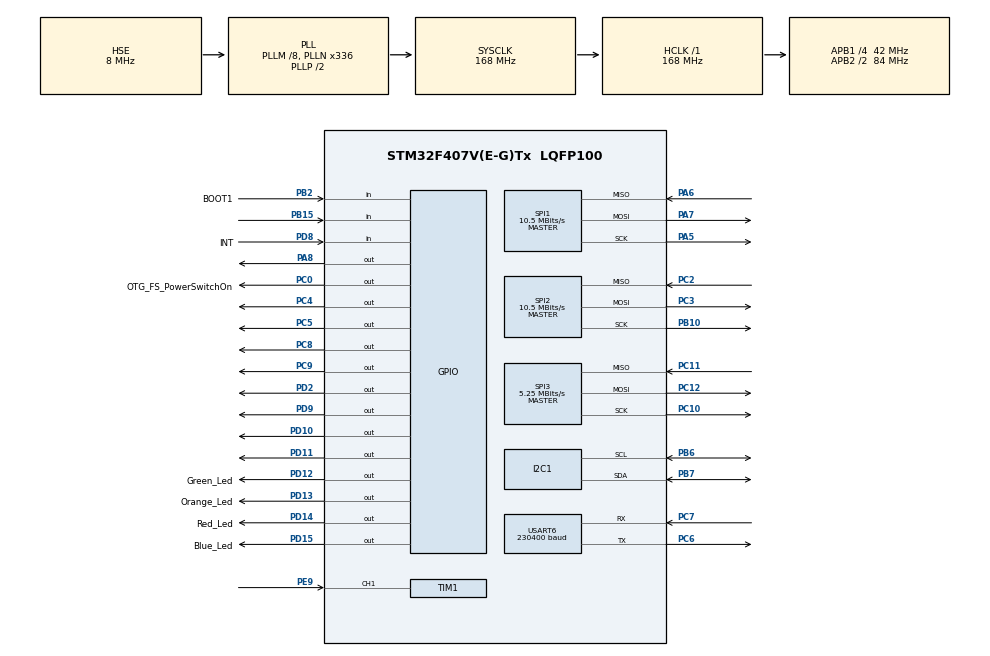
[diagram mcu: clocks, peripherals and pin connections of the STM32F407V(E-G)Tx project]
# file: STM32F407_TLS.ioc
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Dma.Request0=USART6_TX
Dma.Request1=SPI3_RX
Dma.Request2=SPI3_TX
Dma.SPI3_RX.1.Direction=DMA_PERIPH_TO_MEMORY
Dma.SPI3_RX.1.FIFOMode=DMA_FIFOMODE_DISABLE
Dma.SPI3_RX.1.Instance=DMA1_Stream0
Dma.SPI3_RX.1.MemDataAlignment=DMA_MDATAALIGN_BYTE
Dma.SPI3_RX.1.MemInc=DMA_MINC_ENABLE
Dma.SPI3_RX.1.Mode=DMA_NORMAL
Dma.SPI3_RX.1.PeriphDataAlignment=DMA_PDATAALIGN_BYTE
Dma.SPI3_RX.1.PeriphInc=DMA_PINC_DISABLE
Dma.SPI3_RX.1.Priority=DMA_PRIORITY_VERY_HIGH
Dma.SPI3_TX.2.Direction=DMA_MEMORY_TO_PERIPH
Dma.SPI3_TX.2.FIFOMode=DMA_FIFOMODE_DISABLE
Dma.SPI3_TX.2.Instance=DMA1_Stream5
Dma.SPI3_TX.2.MemDataAlignment=DMA_MDATAALIGN_BYTE
Dma.SPI3_TX.2.MemInc=DMA_MINC_ENABLE
Dma.SPI3_TX.2.Mode=DMA_NORMAL
Dma.SPI3_TX.2.PeriphDataAlignment=DMA_PDATAALIGN_BYTE
Dma.SPI3_TX.2.PeriphInc=DMA_PINC_DISABLE
Dma.SPI3_TX.2.Priority=DMA_PRIORITY_VERY_HIGH
Dma.USART6_TX.0.Direction=DMA_MEMORY_TO_PERIPH
Dma.USART6_TX.0.FIFOMode=DMA_FIFOMODE_DISABLE
Dma.USART6_TX.0.Instance=DMA2_Stream6
Dma.USART6_TX.0.MemDataAlignment=DMA_MDATAALIGN_BYTE
Dma.USART6_TX.0.MemInc=DMA_MINC_ENABLE
Dma.USART6_TX.0.Mode=DMA_NORMAL
Dma.USART6_TX.0.PeriphDataAlignment=DMA_PDATAALIGN_BYTE
Dma.USART6_TX.0.PeriphInc=DMA_PINC_DISABLE
Dma.USART6_TX.0.Priority=DMA_PRIORITY_HIGH
FATFS._FS_EXFAT=0
FATFS._FS_NOFSINFO=3
FATFS._FS_REENTRANT=0
FATFS._MAX_SS=4096
FATFS._MULTI_PARTITION=1
FATFS._USE_CHMOD=1
FATFS._USE_EXPAND=1
FATFS._USE_FIND=1
FATFS._USE_FORWARD=1
FATFS._USE_LABEL=1
FATFS._USE_LFN=0
FATFS._USE_TRIM=1
I2C1.I2C_Mode=I2C_Fast
Mcu.Family=STM32F4
Mcu.Name=STM32F407V(E-G)Tx
Mcu.Package=LQFP100
NVIC.DMA1_Stream0_IRQn=true\:0\:0\:false\:false\:true\:false\:true
NVIC.DMA1_Stream5_IRQn=true\:0\:0\:false\:false\:true\:false\:true
NVIC.DMA2_Stream6_IRQn=true\:0\:0\:false\:false\:true\:false\:true
NVIC.PriorityGroup=NVIC_PRIORITYGROUP_4
NVIC.SPI3_IRQn=true\:0\:0\:false\:false\:true\:true\:true
NVIC.TIM1_BRK_TIM9_IRQn=true\:0\:0\:false\:false\:true\:true\:true
NVIC.TIM1_CC_IRQn=true\:0\:0\:false\:false\:true\:true\:true
NVIC.TIM1_TRG_COM_TIM11_IRQn=true\:0\:0\:false\:false\:true\:true\:true
NVIC.TIM1_UP_TIM10_IRQn=true\:0\:0\:false\:false\:true\:true\:true
NVIC.USART6_IRQn=true\:0\:0\:false\:false\:true\:true\:true
PA13.GPIO_Label=SWDIO
PA13.Mode=Serial_Wire
PA13.Signal=SYS_JTMS-SWDIO
PA14.GPIO_Label=SWCLK
PA14.Mode=Serial_Wire
PA14.Signal=SYS_JTCK-SWCLK
PA5.Mode=Full_Duplex_Master
PA5.Signal=SPI1_SCK
PA6.Mode=Full_Duplex_Master
PA6.Signal=SPI1_MISO
PA7.Mode=Full_Duplex_Master
PA7.Signal=SPI1_MOSI
PA8.GPIO_Speed=GPIO_SPEED_FREQ_VERY_HIGH
PA8.PinState=GPIO_PIN_SET
PA8.Signal=GPIO_Output
PB10.GPIO_PuPd=GPIO_PULLUP
PB10.Mode=Full_Duplex_Master
PB10.Signal=SPI2_SCK
PB15.GPIO_PuPd=GPIO_NOPULL
PB15.Signal=GPIO_Input
PB2.GPIO_Label=BOOT1
PB2.GPIO_Mode=GPIO_MODE_INPUT
PB2.GPIO_PuPd=GPIO_NOPULL
PB2.Signal=GPIO_Input
PB6.Mode=I2C
PB6.Signal=I2C1_SCL
PB7.Mode=I2C
PB7.Signal=I2C1_SDA
PC0.GPIO_Label=OTG_FS_PowerSwitchOn
PC0.GPIO_PuPd=GPIO_NOPULL
PC0.GPIO_Speed=GPIO_SPEED_FREQ_LOW
PC0.PinState=GPIO_PIN_SET
PC0.Signal=GPIO_Output
PC10.GPIO_PuPd=GPIO_NOPULL
PC10.Mode=Full_Duplex_Master
PC10.Signal=SPI3_SCK
PC11.GPIO_PuPd=GPIO_PULLUP
PC11.Mode=Full_Duplex_Master
PC11.Signal=SPI3_MISO
PC12.GPIO_PuPd=GPIO_PULLUP
PC12.Mode=Full_Duplex_Master
PC12.Signal=SPI3_MOSI
PC14-OSC32_IN.GPIO_Label=PC14-OSC32_IN
PC14-OSC32_IN.Mode=LSE-External-Oscillator
PC14-OSC32_IN.Signal=RCC_OSC32_IN
PC15-OSC32_OUT.GPIO_Label=PC15-OSC32_OUT
PC15-OSC32_OUT.Mode=LSE-External-Oscillator
PC15-OSC32_OUT.Signal=RCC_OSC32_OUT
PC2.GPIO_PuPd=GPIO_NOPULL
PC2.Mode=Full_Duplex_Master
PC2.Signal=SPI2_MISO
PC3.GPIO_PuPd=GPIO_PULLUP
PC3.Mode=Full_Duplex_Master
PC3.Signal=SPI2_MOSI
PC4.Signal=GPIO_Output
PC5.Signal=GPIO_Output
PC6.Mode=Asynchronous
PC6.Signal=USART6_TX
PC7.Mode=Asynchronous
PC7.Signal=USART6_RX
PC8.GPIO_Speed=GPIO_SPEED_FREQ_VERY_HIGH
PC8.PinState=GPIO_PIN_SET
PC8.Signal=GPIO_Output
PC9.GPIO_Speed=GPIO_SPEED_FREQ_VERY_HIGH
PC9.PinState=GPIO_PIN_SET
PC9.Signal=GPIO_Output
PD10.GPIO_Speed=GPIO_SPEED_FREQ_VERY_HIGH
PD10.PinState=GPIO_PIN_RESET
PD10.Signal=GPIO_Output
PD11.GPIO_Speed=GPIO_SPEED_FREQ_VERY_HIGH
PD11.PinState=GPIO_PIN_SET
PD11.Signal=GPIO_Output
PD12.GPIO_Label=Green_Led
PD12.GPIO_PuPd=GPIO_NOPULL
PD12.GPIO_Speed=GPIO_SPEED_FREQ_VERY_HIGH
PD12.Signal=GPIO_Output
PD13.GPIO_Label=Orange_Led
PD13.GPIO_PuPd=GPIO_NOPULL
PD13.GPIO_Speed=GPIO_SPEED_FREQ_VERY_HIGH
PD13.Signal=GPIO_Output
PD14.GPIO_Label=Red_Led
PD14.GPIO_PuPd=GPIO_NOPULL
PD14.GPIO_Speed=GPIO_SPEED_FREQ_VERY_HIGH
PD14.Signal=GPIO_Output
PD15.GPIO_Label=Blue_Led
PD15.GPIO_PuPd=GPIO_NOPULL
PD15.GPIO_Speed=GPIO_SPEED_FREQ_VERY_HIGH
PD15.Signal=GPIO_Output
PD2.GPIO_PuPd=GPIO_PULLUP
PD2.GPIO_Speed=GPIO_SPEED_FREQ_MEDIUM
PD2.PinState=GPIO_PIN_SET
PD2.Signal=GPIO_Output
PD8.GPIO_Label=INT
PD8.Signal=GPIO_Input
PD9.GPIO_Speed=GPIO_SPEED_FREQ_VERY_HIGH
PD9.Signal=GPIO_Output
PE9.Signal=S_TIM1_CH1
PH0-OSC_IN.GPIO_Label=PH0-OSC_IN
PH0-OSC_IN.Mode=HSE-External-Oscillator
PH0-OSC_IN.Signal=RCC_OSC_IN
PH1-OSC_OUT.GPIO_Label=PH1-OSC_OUT
PH1-OSC_OUT.Mode=HSE-External-Oscillator
PH1-OSC_OUT.Signal=RCC_OSC_OUT
ProjectManager.HeapSize=0x2000
ProjectManager.StackSize=0x4000
ProjectManager.TargetToolchain=STM32CubeIDE
RCC.48MHZClocksFreq_Value=48000000
RCC.AHBFreq_Value=168000000
RCC.APB1CLKDivider=RCC_HCLK_DIV4
RCC.APB1Freq_Value=42000000
RCC.APB1TimFreq_Value=84000000
RCC.APB2CLKDivider=RCC_HCLK_DIV2
RCC.APB2Freq_Value=84000000
RCC.APB2TimFreq_Value=168000000
RCC.CortexFreq_Value=168000000
RCC.HCLKFreq_Value=168000000
RCC.HSE_VALUE=8000000
RCC.HSI_VALUE=16000000
RCC.PLLM=8
RCC.PLLN=336
RCC.PLLQ=7
RCC.PLLSourceVirtual=RCC_PLLSOURCE_HSE
RCC.SYSCLKFreq_VALUE=168000000
RCC.SYSCLKSource=RCC_SYSCLKSOURCE_PLLCLK
RCC.VCOOutputFreq_Value=336000000
RTC.Date=9
RTC.Month=RTC_MONTH_MAY
RTC.Year=23
SH.S_TIM1_CH1.0=TIM1_CH1,Input_Capture1_from_TI1
SH.S_TIM1_CH1.1=TIM1_CH1,TriggerSource_TI1FP1
SPI1.BaudRatePrescaler=SPI_BAUDRATEPRESCALER_8
SPI1.CalculateBaudRate=10.5 MBits/s
SPI1.Direction=SPI_DIRECTION_2LINES
SPI1.Mode=SPI_MODE_MASTER
SPI1.VirtualType=VM_MASTER
SPI2.BaudRatePrescaler=SPI_BAUDRATEPRESCALER_4
SPI2.CLKPhase=SPI_PHASE_2EDGE
SPI2.CalculateBaudRate=10.5 MBits/s
SPI2.Direction=SPI_DIRECTION_2LINES
SPI2.Mode=SPI_MODE_MASTER
SPI2.VirtualType=VM_MASTER
SPI3.BaudRatePrescaler=SPI_BAUDRATEPRESCALER_8
SPI3.CLKPhase=SPI_PHASE_1EDGE
SPI3.CLKPolarity=SPI_POLARITY_LOW
SPI3.CalculateBaudRate=5.25 MBits/s
SPI3.DataSize=SPI_DATASIZE_8BIT
SPI3.Direction=SPI_DIRECTION_2LINES
SPI3.Mode=SPI_MODE_MASTER
SPI3.VirtualType=VM_MASTER
TIM1.Channel-Input_Capture1_from_TI1=TIM_CHANNEL_1
TIM1.ICPolarity_CH1=TIM_INPUTCHANNELPOLARITY_FALLING
TIM1.Period=20730
TIM1.TIM_MasterOutputTrigger=TIM_TRGO_RESET
TIM1.TIM_MasterSlaveMode=TIM_MASTERSLAVEMODE_DISABLE
USART6.BaudRate=230400
USART6.VirtualMode=VM_ASYNC
VP_FATFS_VS_Generic.Mode=User_defined
VP_RNG_VS_RNG.Mode=RNG_Activate
VP_RTC_VS_RTC_Activate.Mode=RTC_Enabled
VP_RTC_VS_RTC_Calendar.Mode=RTC_Calendar
VP_TIM1_VS_ClockSourceINT.Mode=Internal
VP_TIM1_VS_ControllerModeReset.Mode=Reset Mode
board=STM32F407G-DISC1
wolfSSL.I-CUBE-wolfSSL.5.6.0.WOLF_CONF_MD5=1
wolfSSL.I-CUBE-wolfSSL.5.6.0.WOLF_CONF_WOLFCRYPT_ONLY=0

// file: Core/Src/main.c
/* USER CODE BEGIN Header */
/**
  ******************************************************************************
  * @file           : main.c
  * @brief          : Main program body
  ******************************************************************************
  * @attention
  *
  * Copyright (c) 2023 STMicroelectronics.
  * All rights reserved.
  *
  * This software is licensed under terms that can be found in the LICENSE file
  * in the root directory of this software component.
  * If no LICENSE file comes with this software, it is provided AS-IS.
  *
  ******************************************************************************
  */
#include "socket.h"
#include "w5500.h"
#include "net.h"
#include "loopback.h"
#include "my_function.h"
#include "eeprom.h"
#include "wizchip_init.h"
#include "SSLInterface.h"
#include "httpServer.h"
#include "webpage.h"

/* USER CODE END Header */
#include "main.h"
#include "fatfs.h"

/* USER CODE BEGIN Includes */
#include "stdio.h"
#include "stdarg.h"
#include <string.h>
#include <stdlib.h>
#include <stdint.h>
/* USER CODE END Includes */

/* USER CODE BEGIN PD */

extern void FsForEeprom_test();
extern void littleFsInit();
void sendPackets(uint8_t, uint8_t* , uint16_t );
void receivePackets(uint8_t, uint8_t* , uint16_t );

extern int tls_client_serverTest();
extern int tls_server_sizeTest();
extern int tls_sock_serverTest();
extern void tlsProcess();
char str_buf[1000]={'\0'};
/* USER CODE END PD */

/* USER CODE BEGIN PM */
#define I2C_REQUEST_WRITE                       0x00
#define I2C_REQUEST_READ                        0x01
#define SLAVE_OWN_ADDRESS                       0xA0
uint32_t count = 0;
uint8_t sdCartOn = 0;
char *pindex;
extern lfs_t lfs;
extern lfs_file_t file;
uint8_t num_block_index = 1; //лишнее обрежется после конечного тега
uint8_t num_block_main = 8;
char indexLen[8];
unsigned char gServer_IP[4] = {192,168,1,1};
//unsigned char gServer_IP[4] = {77,88,55,88};
unsigned char ethBuf0[ETH_MAX_BUF_SIZE];

#define WRITE_ONCE_TO_EEPROM 1024

uint8_t txCyclon[MAX_PACKET_LEN];
uint8_t rxCyclon[MAX_PACKET_LEN];

uint8_t test1[MAX_PACKET_LEN] = {0x55, 0x55, 0x55, 0x55, 0x55, 0x55, 0x55, 0x55, 0x55, 0x55, 0x55, 0x55, 0x55, 0x55, 0x55, 0x55,
                                 0x55, 0x55, 0x55, 0x55, 0x55, 0x55, 0x55, 0x55, 0x55, 0x55, 0x55, 0x55, 0x55, 0x55, 0x55, 0x55,
                                0x55, 0x55, 0x55, 0x55, 0x55, 0x55, 0x55, 0x55, 0x55, 0x55, 0x55, 0x55, 0x55, 0x55, 0x55, 0x55};
uint8_t test2[MAX_PACKET_LEN] = {0xaa, 0xaa, 0xaa, 0xaa, 0xaa, 0xaa, 0xaa, 0xaa, 0xaa, 0xaa, 0xaa, 0xaa, 0xaa, 0xaa, 0xaa, 0xaa,
                                0xaa, 0xaa, 0xaa, 0xaa, 0xaa, 0xaa, 0xaa, 0xaa, 0xaa, 0xaa, 0xaa, 0xaa, 0xaa, 0xaa, 0xaa, 0xaa,
                                0xaa, 0xaa, 0xaa, 0xaa, 0xaa, 0xaa, 0xaa, 0xaa, 0xaa, 0xaa, 0xaa, 0xaa, 0xaa, 0xaa, 0xaa, 0xaa};
uint8_t test3[MAX_PACKET_LEN] = {0xaa, 0xaa, 0xaa, 0xaa, 0x00, 0x00, 0x00, 0x00, 0xaa, 0xaa, 0xaa, 0xaa, 0x00, 0x00, 0x00, 0x00,
                                0xaa, 0xaa, 0xaa, 0xaa, 0x00, 0x00, 0x00, 0x00, 0xaa, 0xaa, 0xaa, 0xaa, 0x00, 0x00, 0x00, 0x00,
                                0xaa, 0xaa, 0xaa, 0xaa, 0x00, 0x00, 0x00, 0x00, 0xaa, 0xaa, 0xaa, 0xaa, 0x00, 0x00, 0x00, 0xff};
uint8_t test4[MAX_PACKET_LEN] = {0x0f, 0x0f, 0x0f, 0x0f, 0x0f, 0x0f, 0x0f, 0x0f, 0x0f, 0x0f, 0x0f, 0x0f, 0x0f, 0x0f, 0x0f, 0x0f,
                                0x0f, 0x0f, 0x0f, 0x0f, 0x0f, 0x0f, 0x0f, 0x0f, 0x0f, 0x0f, 0x0f, 0x0f, 0x0f, 0x0f, 0x0f, 0x0f,
                                0x0f, 0x0f, 0x0f, 0x0f, 0x0f, 0x0f, 0x0f, 0x0f, 0x0f, 0x0f, 0x0f, 0x0f, 0x0f, 0x0f, 0x0f, 0x0f};
uint8_t test5[MAX_PACKET_LEN] = {0x99, 0x99, 0x99, 0x99, 0x99, 0x99, 0x99, 0x99, 0x99, 0x99, 0x99, 0x99, 0x99, 0x99, 0x99, 0x99,
                                0x99, 0x99, 0x99, 0x99, 0x99, 0x99, 0x99, 0x99, 0x99, 0x99, 0x99, 0x99, 0x99, 0x99, 0x99, 0x99,
                                0x99, 0x99, 0x99, 0x99, 0x99, 0x99, 0x99, 0x99, 0x99, 0x99, 0x99, 0x99, 0x99, 0x99, 0x99, 0x99};
uint8_t test6[MAX_PACKET_LEN] = {0x01, 0x01, 0x01, 0x01, 0x01, 0x01, 0x01, 0x01, 0x01, 0x01, 0x01, 0x01, 0x01, 0x01, 0x01, 0x01,
                                0x01, 0x01, 0x01, 0x01, 0x01, 0x01, 0x01, 0x01, 0x01, 0x01, 0x01, 0x01, 0x01, 0x01, 0x01, 0x01,
                                0x01, 0x01, 0x01, 0x01, 0x01, 0x01, 0x01, 0x01, 0x01, 0x01, 0x01, 0x01, 0x01, 0x01, 0x01, 0x01};
uint32_t num_send = 0;
uint32_t num_rcvd = 0;
uint32_t num;
/* USER CODE END PM */

I2C_HandleTypeDef hi2c1;

RNG_HandleTypeDef hrng;

RTC_HandleTypeDef hrtc;

SPI_HandleTypeDef hspi1;
SPI_HandleTypeDef hspi2;
SPI_HandleTypeDef hspi3;
DMA_HandleTypeDef hdma_spi3_rx;
DMA_HandleTypeDef hdma_spi3_tx;

TIM_HandleTypeDef htim1;

UART_HandleTypeDef huart6;
DMA_HandleTypeDef hdma_usart6_tx;

/* USER CODE BEGIN PV */
uint8_t capture = 0;
extern uint8_t ipaddr[4];
extern uint8_t ipgate[4];
extern uint8_t ipmask[4];
char MD5[32];
uint8_t destip[4];
extern uint8_t macaddr[6];
extern wiz_NetInfo defaultNetInfo;

uint8_t RX_BUF[DATA_BUF_SIZE];
uint8_t TX_BUF[DATA_BUF_SIZE];
#define MAX_HTTPSOCK	4
uint8_t socknumlist[] = {0, 1, 2, 3};

/* USER CODE END PV */

void SystemClock_Config(void);
static void MX_GPIO_Init(void);
static void MX_DMA_Init(void);
static void MX_USART6_UART_Init(void);
static void MX_SPI3_Init(void);
static void MX_TIM1_Init(void);
static void MX_SPI1_Init(void);
static void MX_SPI2_Init(void);
static void MX_RNG_Init(void);
static void MX_RTC_Init(void);
static void MX_I2C1_Init(void);
/* USER CODE BEGIN PFP */
extern void UART_Printf(const char* fmt, ...);
extern void Printf(const char* fmt, ...);
extern void print_network_information(void);

void HAL_TIM_PeriodElapsedCallback(TIM_HandleTypeDef *htim)
{
// Этот обратный вызов автоматически вызывается HAL при возникновении события UEV
    if(htim->Instance == TIM1) //check if the interrupt comes from TIM1
    {
        ++capture;
        HAL_GPIO_WritePin(GPIOD, GPIO_PIN_10, GPIO_PIN_SET);
        HAL_GPIO_WritePin(GPIOD, GPIO_PIN_10, GPIO_PIN_RESET);

        if (capture == 2)
        {
            ++count;
//            HAL_SPI_TransmitReceive(&hspi3, txBuf , rxBuf, MAX_PACKET_LEN, 0x1000);
//            memcpy(txBuf, rxBuf + 1, MAX_PACKET_LEN);
        }
        if (capture == 1)
        {
            HAL_GPIO_WritePin(GPIOD, GPIO_PIN_9, GPIO_PIN_SET);
            HAL_GPIO_WritePin(GPIOD, GPIO_PIN_9, GPIO_PIN_RESET);

        }
    }

}
void HAL_SPI_TxCpltCallback(SPI_HandleTypeDef *hspi)
{
    if(hspi->Instance == SPI3)
    {
//        HAL_GPIO_WritePin(GPIOD, GPIO_PIN_9, GPIO_PIN_SET);
//        HAL_GPIO_WritePin(GPIOD, GPIO_PIN_9, GPIO_PIN_RESET);
    }
}
void HAL_SPI_RxCpltCallback(SPI_HandleTypeDef *hspi)
{
//    if(hspi->Instance == SPI3)
//    {
//        HAL_GPIO_WritePin(GPIOD, GPIO_PIN_10, GPIO_PIN_SET);
//        HAL_GPIO_WritePin(GPIOD, GPIO_PIN_10, GPIO_PIN_RESET);
//    }
}
void HAL_TIM_IC_CaptureCallback(TIM_HandleTypeDef *htim)
{
    capture = 0;
//    HAL_GPIO_WritePin(GPIOD, GPIO_PIN_9, GPIO_PIN_SET);
//    HAL_GPIO_WritePin(GPIOD, GPIO_PIN_9, GPIO_PIN_RESET);
}

/* USER CODE END PFP */

/* USER CODE BEGIN 0 */
FATFS fs;
FIL fil;

void printFileFromEEPROM(const char* nameFile_onEEPROM);

void testEEPROM()
{
    uint8_t rd_value[36] = {0};
    uint8_t wr_value[36] = {'f','b','c','d','e','f','g','i','j','k','l','m','n','o','p','q',
                            'r','s','t','u','v','w','x','y','z','1','2','3','4','5','6','7','8','9','0','\0'};
    uint8_t erase_value[36] = {'H','e','f','l','o'};

//    AT24C_ReadBytes (0x004A, rd_value, 36);
    uint16_t num = 36;
    BSP_EEPROM_ReadBuffer(rd_value, 0x004A, &num);
    UART_Printf("EEPROM read: %s\r\n",rd_value); delayUS_ASM(20000);

    UART_Printf("EEPROM write:"); delayUS_ASM(20000);
    UART_Printf("%s\r\n",erase_value); delayUS_ASM(20000);
    BSP_EEPROM_WriteBuffer(erase_value, 0x004A, 36);
//    AT24C_WriteBytes (0x004A, erase_value, 36);

    delayUS_ASM(100000);

//    AT24C_ReadBytes (0x004A, rd_value, 36);
    BSP_EEPROM_ReadBuffer(rd_value, 0x004A, &num);
    UART_Printf("EEPROM read: %s\r\n",rd_value); delayUS_ASM(10000);

    UART_Printf("EEPROM write:"); delayUS_ASM(10000);
    UART_Printf("%s\r\n",wr_value); delayUS_ASM(10000);
    BSP_EEPROM_WriteBuffer(wr_value, 0x004A, 36);
//    AT24C_WriteBytes (0x004A, wr_value, 36);

    delayUS_ASM(100000);

//    AT24C_ReadBytes (0x004A, rd_value, 36);
    BSP_EEPROM_ReadBuffer(rd_value, 0x004A, &num);
    UART_Printf("EEPROM read: %s\r\n",rd_value); delayUS_ASM(10000);
}

void copyFileToEEPROM(const char* nameFile_onSD)
{
    uint32_t time = HAL_GetTick();
    f_open(&fil, nameFile_onSD, FA_OPEN_ALWAYS | FA_READ );
    uint32_t numByteFile = fil.obj.objsize;
    UINT rc;
    pindex = malloc(numByteFile);
    f_read(&fil, pindex, numByteFile, &rc);
    f_close(&fil);

    UART_Printf("copy %s ... ", nameFile_onSD); delayUS_ASM(5000);
    lfs_file_open(&lfs, &file, nameFile_onSD, LFS_O_WRONLY | LFS_O_CREAT );
    lfs_file_write(&lfs, &file, pindex, numByteFile);
    lfs_file_close(&lfs, &file);
    memset(pindex, 0x00, numByteFile);
    free (pindex);
    char tmp[30];
    sprintf(tmp,"%ds\n", (HAL_GetTick() - time)/1000 );
    UART_Printf(tmp); delayUS_ASM(5000);
//    printFileFromEEPROM(nameFile_onSD);
}

void printFileFromEEPROM(const char* nameFile_onEEPROM)
{
    lfs_file_open(&lfs, &file, nameFile_onEEPROM, LFS_O_RDONLY );
    uint32_t numByteFile = lfs_file_size(&lfs, &file);
    pindex = malloc(numByteFile);
    lfs_file_read(&lfs, &file, pindex, numByteFile);
    lfs_file_close(&lfs, &file);

    UART_Printf("print %s\n", nameFile_onEEPROM); delayUS_ASM(5000);
    for (int i = 0; i < numByteFile; ++i)
    {
        UART_Printf("%c", pindex[i]); delayUS_ASM(100);
    }
    UART_Printf("\n"); delayUS_ASM(100);
    free (pindex);
}

void testReadFile(const char* nameFile_onEEPROM)
{
    UART_Printf("test read %s ... ", nameFile_onEEPROM); delayUS_ASM(1000);
    uint32_t time = HAL_GetTick();
    lfs_file_open(&lfs, &file, nameFile_onEEPROM, LFS_O_RDONLY );
    uint32_t numByteFile = lfs_file_size(&lfs, &file);
    pindex = malloc(numByteFile);
    lfs_file_read(&lfs, &file, pindex, numByteFile);
    lfs_file_close(&lfs, &file);
    free (pindex);
    char tmp[30];
    sprintf(tmp,"%ds\n", (HAL_GetTick() - time)/1000 );
    UART_Printf(tmp); delayUS_ASM(5000);
}

void copyParametersToEEPROM()
{
    UART_Printf("copy parameters to eeprom\n"); delayUS_ASM(10000);
    char tmp[100];
    char tmp1[5];
    char tmp2[5];
    char tmp3[5];
    char tmp4[5];
    f_open(&fil, "host_IP", FA_OPEN_ALWAYS | FA_READ );
    f_gets(tmp1, 5, &fil);
    f_gets(tmp2, 5, &fil);
    f_gets(tmp3, 5, &fil);
    f_gets(tmp4, 5, &fil);
    f_close(&fil);
    sprintf(tmp,"%.3s\r\n%.3s\r\n%.3s\r\n%.3s\r\n",tmp1,tmp2,tmp3,tmp4);
    UART_Printf("host_IP:\n%s\n", tmp); delayUS_ASM(5000);
    lfs_file_open(&lfs, &file, "host_IP", LFS_O_WRONLY | LFS_O_CREAT);
    lfs_file_write(&lfs, &file, &tmp, sizeof(tmp));
    lfs_file_close(&lfs, &file);

    f_open(&fil, "dest_IP", FA_OPEN_ALWAYS | FA_READ );
    f_gets(tmp1, 100, &fil);
    f_gets(tmp2, 100, &fil);
    f_gets(tmp3, 100, &fil);
    f_gets(tmp4, 100, &fil);
    f_close(&fil);
    sprintf(tmp,"%.3s\r\n%.3s\r\n%.3s\r\n%.3s\r\n",tmp1,tmp2,tmp3,tmp4);
    UART_Printf("dest_IP:\n%s\n", tmp); delayUS_ASM(5000);
    lfs_file_open(&lfs, &file, "dest_IP", LFS_O_WRONLY | LFS_O_CREAT);
    lfs_file_write(&lfs, &file, &tmp, sizeof(tmp));
    lfs_file_close(&lfs, &file);

    f_open(&fil, "gate_IP", FA_OPEN_ALWAYS | FA_READ );
    f_gets(tmp1, 100, &fil);
    f_gets(tmp2, 100, &fil);
    f_gets(tmp3, 100, &fil);
    f_gets(tmp4, 100, &fil);
    f_close(&fil);
    sprintf(tmp,"%.3s\r\n%.3s\r\n%.3s\r\n%.3s\r\n",tmp1,tmp2,tmp3,tmp4);
    UART_Printf("gate_IP:\n%s\n", tmp); delayUS_ASM(5000);
    lfs_file_open(&lfs, &file, "gate_IP", LFS_O_WRONLY | LFS_O_CREAT);
    lfs_file_write(&lfs, &file, &tmp, sizeof(tmp));
    lfs_file_close(&lfs, &file);

    f_open(&fil, "mask_IP", FA_OPEN_ALWAYS | FA_READ );
    f_gets(tmp1, 100, &fil);
    f_gets(tmp2, 100, &fil);
    f_gets(tmp3, 100, &fil);
    f_gets(tmp4, 100, &fil);
    f_close(&fil);
    sprintf(tmp,"%.3s\r\n%.3s\r\n%.3s\r\n%.3s\r\n",tmp1,tmp2,tmp3,tmp4);
    UART_Printf("mask_IP:\n%s\n", tmp); delayUS_ASM(5000);
    lfs_file_open(&lfs, &file, "mask_IP", LFS_O_WRONLY | LFS_O_CREAT);
    lfs_file_write(&lfs, &file, &tmp, sizeof(tmp));
    lfs_file_close(&lfs, &file);

    f_open(&fil, "md5", FA_OPEN_ALWAYS | FA_READ );
    f_gets(tmp, 100, &fil);
    strncpy(MD5, tmp, 32);
    f_close(&fil);
    lfs_file_open(&lfs, &file, "md5", LFS_O_WRONLY | LFS_O_CREAT);
    lfs_file_write(&lfs, &file, &tmp, sizeof(tmp));
    lfs_file_close(&lfs, &file);
}

void setParametersFromSD()
{
    char tmp[100];
    char tmp1[5];
    char tmp2[5];
    char tmp3[5];
    char tmp4[5];
    f_open(&fil, "host_IP", FA_OPEN_ALWAYS | FA_READ );
    f_gets(tmp1, 5, &fil);
    ipaddr[0] = atoi(tmp1);
    f_gets(tmp2, 5, &fil);
    ipaddr[1] = atoi(tmp2);
    f_gets(tmp3, 5, &fil);
    ipaddr[2] = atoi(tmp3);
    f_gets(tmp4, 5, &fil);
    ipaddr[3] = atoi(tmp4);
    sprintf(tmp,"host_IP: %d.%d.%d.%d\r\n",ipaddr[0],ipaddr[1],ipaddr[2],ipaddr[3]);
    UART_Printf(tmp); delayUS_ASM(10000);
    f_close(&fil);
    sprintf(tmp,"%.3s%.3s%.3s%.3s\r\n",tmp1,tmp2,tmp3,tmp4);

    f_open(&fil, "dest_IP", FA_OPEN_ALWAYS | FA_READ );
    f_lseek(&fil, 0);
    f_gets(tmp1, 100, &fil);
    destip[0] = atoi(tmp1);
    f_gets(tmp2, 100, &fil);
    destip[1] = atoi(tmp2);
    f_gets(tmp3, 100, &fil);
    destip[2] = atoi(tmp3);
    f_gets(tmp4, 100, &fil);
    destip[3] = atoi(tmp4);
    sprintf(tmp,"dest_IP: %d.%d.%d.%d\r\n",destip[0],destip[1],destip[2],destip[3]);
    UART_Printf(tmp); delayUS_ASM(10000);
    f_close(&fil);
    sprintf(tmp,"%.3s%.3s%.3s%.3s\r\n",tmp1,tmp2,tmp3,tmp4);

    f_open(&fil, "gate_IP", FA_OPEN_ALWAYS | FA_READ );
    f_lseek(&fil, 0);
    f_gets(tmp1, 100, &fil);
    ipgate[0] = atoi(tmp1);
    f_gets(tmp2, 100, &fil);
    ipgate[1] = atoi(tmp2);
    f_gets(tmp3, 100, &fil);
    ipgate[2] = atoi(tmp3);
    f_gets(tmp4, 100, &fil);
    ipgate[3] = atoi(tmp4);
    sprintf(tmp,"gate_IP: %d.%d.%d.%d\r\n",ipgate[0],ipgate[1],ipgate[2],ipgate[3]);
    UART_Printf(tmp); delayUS_ASM(10000);
    f_close(&fil);
    sprintf(tmp,"%.3s%.3s%.3s%.3s\r\n",tmp1,tmp2,tmp3,tmp4);

    f_open(&fil, "mask_IP", FA_OPEN_ALWAYS | FA_READ );
    f_lseek(&fil, 0);
    f_gets(tmp1, 100, &fil);
    ipmask[0] = atoi(tmp1);
    f_gets(tmp2, 100, &fil);
    ipmask[1] = atoi(tmp2);
    f_gets(tmp3, 100, &fil);
    ipmask[2] = atoi(tmp3);
    f_gets(tmp4, 100, &fil);
    ipmask[3] = atoi(tmp4);
    sprintf(tmp,"mask_IP: %d.%d.%d.%d\r\n",ipmask[0],ipmask[1],ipmask[2],ipmask[3]);
    UART_Printf(tmp); delayUS_ASM(10000);
    f_close(&fil);
    sprintf(tmp,"%.3s%.3s%.3s%.3s\r\n",tmp1,tmp2,tmp3,tmp4);

    f_open(&fil, "md5", FA_OPEN_ALWAYS | FA_READ );
    f_gets(tmp, 100, &fil);
    strncpy(MD5, tmp, 32);
    f_close(&fil);
    Printf("md5: %s\n",MD5);

    Printf("mac: %.2X:%.2X:%.2X:%.2X:%.2X:%.2X\r\n",macaddr[0],macaddr[1],macaddr[2],macaddr[3],macaddr[4],macaddr[5]);
}

void SetParaametersFromEEPROM()
{
    char tmp[100];
    char tmp5[23];
    char tmp6[3];
    UART_Printf("Load data from EEPROM\r\n"); delayUS_ASM(10000);
    lfs_file_open(&lfs, &file, "host_IP", LFS_O_RDWR | LFS_O_CREAT);
    lfs_file_read(&lfs, &file, &tmp5, sizeof (tmp5));
    lfs_file_close(&lfs, &file);
    strncpy(tmp6,tmp5,3);
    ipaddr[0] = atoi(tmp6);
    strncpy(tmp6,tmp5+5,3);
    ipaddr[1] = atoi(tmp6);
    strncpy(tmp6,tmp5+10,3);
    ipaddr[2] = atoi(tmp6);
    strncpy(tmp6,tmp5+15,3);
    ipaddr[3] = atoi(tmp6);

    lfs_file_open(&lfs, &file, "dest_IP", LFS_O_RDWR | LFS_O_CREAT);
    lfs_file_read(&lfs, &file, &tmp5, sizeof (tmp5));
    lfs_file_close(&lfs, &file);
    strncpy(tmp6,tmp5,3);
    destip[0] = atoi(tmp6);
    strncpy(tmp6,tmp5+5,3);
    destip[1] = atoi(tmp6);
    strncpy(tmp6,tmp5+10,3);
    destip[2] = atoi(tmp6);
    strncpy(tmp6,tmp5+15,3);
    destip[3] = atoi(tmp6);

    lfs_file_open(&lfs, &file, "gate_IP", LFS_O_RDWR | LFS_O_CREAT);
    lfs_file_read(&lfs, &file, &tmp5, sizeof (tmp5));
    lfs_file_close(&lfs, &file);
    strncpy(tmp6,tmp5,3);
    ipgate[0] = atoi(tmp6);
    strncpy(tmp6,tmp5+5,3);
    ipgate[1] = atoi(tmp6);
    strncpy(tmp6,tmp5+10,3);
    ipgate[2] = atoi(tmp6);
    strncpy(tmp6,tmp5+15,3);
    ipgate[3] = atoi(tmp6);

    lfs_file_open(&lfs, &file, "mask_IP", LFS_O_RDWR | LFS_O_CREAT);
    lfs_file_read(&lfs, &file, &tmp5, sizeof (tmp5));
    lfs_file_close(&lfs, &file);
    strncpy(tmp6,tmp5,3);
    ipmask[0] = atoi(tmp6);
    strncpy(tmp6,tmp5+5,3);
    ipmask[1] = atoi(tmp6);
    strncpy(tmp6,tmp5+10,3);
    ipmask[2] = atoi(tmp6);
    strncpy(tmp6,tmp5+15,3);
    ipmask[3] = atoi(tmp6);

    lfs_file_open(&lfs, &file, "md5", LFS_O_RDWR | LFS_O_CREAT);
    lfs_file_read(&lfs, &file, &tmp, sizeof (tmp));
    lfs_file_close(&lfs, &file);
    strcpy(MD5, tmp);

    sprintf(tmp,"host_IP: %d.%d.%d.%d\r\n",ipaddr[0],ipaddr[1],ipaddr[2],ipaddr[3]);
    UART_Printf(tmp); delayUS_ASM(10000);
    sprintf(tmp,"dest_IP: %d.%d.%d.%d\r\n",destip[0],destip[1],destip[2],destip[3]);
    UART_Printf(tmp); delayUS_ASM(10000);
    sprintf(tmp,"gate_IP: %d.%d.%d.%d\r\n",ipgate[0],ipgate[1],ipgate[2],ipgate[3]);
    UART_Printf(tmp); delayUS_ASM(10000);
    sprintf(tmp,"mask_IP: %d.%d.%d.%d\r\n",ipmask[0],ipmask[1],ipmask[2],ipmask[3]);
    UART_Printf(tmp); delayUS_ASM(10000);
    sprintf(tmp,"md5: %s", MD5);
    UART_Printf(tmp); delayUS_ASM(10000);

    sprintf(tmp,"mac: %.2X:%.2X:%.2X:%.2X:%.2X:%.2X\r\n",macaddr[0],macaddr[1],macaddr[2],macaddr[3],macaddr[4],macaddr[5]);
    UART_Printf(tmp); delayUS_ASM(10000);
}
/* USER CODE END 0 */

void wep_define_func(void)
{
    // Index page and netinfo / base64 image demo
    reg_httpServer_webContent((uint8_t *)"index.html", (uint8_t *)index_page);				// index.html 		: Main page example
    reg_httpServer_webContent((uint8_t *)"netinfo.html", (uint8_t *)netinfo_page);			// netinfo.html 	: Network information example page
    reg_httpServer_webContent((uint8_t *)"netinfo.js", (uint8_t *)w5x00web_netinfo_js);     // netinfo.js 		: JavaScript for Read Network configuration 	(+ ajax.js)
    reg_httpServer_webContent((uint8_t *)"img.html", (uint8_t *)img_page);					// img.html 		: Base64 Image data example page

    // Example #1
    reg_httpServer_webContent((uint8_t *)"dio.html", (uint8_t *)dio_page);					// dio.html 		: Digital I/O control example page
    reg_httpServer_webContent((uint8_t *)"dio.js", (uint8_t *)w5x00web_dio_js);             // dio.js 			: JavaScript for digital I/O control 	(+ ajax.js)

    // AJAX JavaScript functions
    reg_httpServer_webContent((uint8_t *)"ajax.js", (uint8_t *)w5x00web_ajax_js);			// ajax.js			: JavaScript for AJAX request transfer

}

int main(void)
{

  /* MCU Configuration--------------------------------------------------------*/

  /* Reset of all peripherals, Initializes the Flash interface and the Systick. */
  HAL_Init();

  /* Configure the system clock */
  SystemClock_Config();

  /* Initialize all configured peripherals */
  MX_GPIO_Init();
  MX_DMA_Init();
  MX_USART6_UART_Init();
  MX_SPI3_Init();
  MX_TIM1_Init();
  MX_SPI1_Init();
  MX_SPI2_Init();
  MX_FATFS_Init();
  MX_RNG_Init();
  MX_RTC_Init();
  MX_I2C1_Init();
  /* USER CODE BEGIN 2 */
    //Сброс W5500 - уже в net_ini
    HAL_GPIO_WritePin(GPIOC, GPIO_PIN_9, GPIO_PIN_RESET);
    delayUS_ASM(1000);
    HAL_GPIO_WritePin(GPIOC, GPIO_PIN_9, GPIO_PIN_SET);

//  UART_Printf("Simple eeprom TEST\n"); delayUS_ASM(10000);
//  testEEPROM();
//  UART_Printf("LittleFsInit\n"); delayUS_ASM(10000);
//  littleFsInit();
//  UART_Printf("FsEeprom TEST ... "); delayUS_ASM(10000);
//  FsForEeprom_test();

    f_mount(&fs, "", 0);
    FRESULT result = f_open(&fil, "host_IP", FA_OPEN_ALWAYS | FA_READ );
    if (result == 0)
    {
        sdCartOn = 1;
        UART_Printf("SD_READ\n");
        delayUS_ASM(10000);
    }

    if (result != 0)
        UART_Printf("SD_NOT_OPEN\n");
        delayUS_ASM(10000);
    f_close(&fil);

    if (sdCartOn == 1)
    {
        setParametersFromSD();
//        copyParametersToEEPROM();
//        copyFileToEEPROM("index.html");
//        copyFileToEEPROM("main.html");

    } else
    {
        SetParaametersFromEEPROM();
//        testReadFile("index.html");
//        testReadFile("main.html");
//        printFileFromEEPROM("index.html");
//        printFileFromEEPROM("main.html");

    }

//    net_ini(); // Сетевые параметры не из библиотеки производителя W5500

    int len, server_fd = 0;
    unsigned int ret = 0;
    wiz_tls_context tlsContext;

////Callbacks
//    reg_wizchip_cris_cbfunc(wizchip_cris_enter, wizchip_cris_exit);
//    reg_wizchip_cs_cbfunc(wizchip_cs_select, wizchip_cs_deselect);
//    reg_wizchip_spi_cbfunc(wizchip_spi_readbyte, wizchip_spi_writebyte);
//    reg_wizchip_spiburst_cbfunc(wizchip_spi_readburst, wizchip_spi_writeburst);
//    wizchip_initialize();
//    network_init();

//Делает то-же самое
    WIZCHIPInitialize();
    wizchip_setnetinfo(&defaultNetInfo);
    ctlnetwork(CN_SET_NETINFO, (void*) &defaultNetInfo);
    HAL_Delay(1000);
    print_network_information();

//TLS CLIENT
//    /*  initialize ssl context  */
//    ret = wiz_tls_init(&tlsContext,&server_fd);
//    printf("init [%d] \r\n", ret);

//    /*  Connect to the ssl server  */
//    wiz_tls_connect(&tlsContext, SERVER_PORT, gServer_IP);

  /* USER CODE END 2 */

  /* Infinite loop */
  /* USER CODE BEGIN WHILE */

//web server - РАБОТАЕТ
    uint8_t i;
    httpServer_init(TX_BUF, RX_BUF, MAX_HTTPSOCK, socknumlist);
    wep_define_func();
    display_reg_webContent_list();

//web server - НЕ РАБОТАЕТ
//    uint8_t stat;
//    uint8_t reqnr;
//    char Message[128];
  while (1)
  {
//web server - РАБОТАЕТ
      for(i = 0; i < MAX_HTTPSOCK; i++) {httpServer_run(i);}

//web server - НЕ РАБОТАЕТ
        printf("Creating socket...\r\n");
//        stat = socket(HTTP_SOCKET, Sn_MR_TCP, 80, 0);
//        if(stat != HTTP_SOCKET) printf("socket() failed, code = %d\r\n", stat);
//        else printf("Socket created, connecting...\r\n");
//        stat = listen(HTTP_SOCKET);
//        if(stat != SOCK_OK) printf("listen() failed, code = %d\r\n", stat);
//        else printf("listen() OK\r\n");
//        while(WIZCHIP_READ(HTTP_SOCKET) == SOCK_LISTEN) {HAL_Delay(2);}
//        printf("Input connection\r\n");
//        if(WIZCHIP_READ(HTTP_SOCKET) != SOCK_ESTABLISHED) printf("Error socket status\r\n");
//        uint8_t rIP[4];
//        getsockopt(HTTP_SOCKET, SO_DESTIP, rIP);
//        printf("IP:  %d.%d.%d.%d\r\n", rIP[0], rIP[1], rIP[2], rIP[3]);
//        sprintf(Message, "input connection nr - %d", reqnr);
//        send(0, (uint8_t*)Message, strlen(Message));
//        disconnect(HTTP_SOCKET);
//        printf("Closing socket.\r\n");
//        close(HTTP_SOCKET);
//        HAL_Delay(1000);
//        reqnr++;

//TLS CLIENT
   //    len = wiz_tls_read(&tlsContext, ethBuf0, ETH_MAX_BUF_SIZE);
   //    if(len > 0)
   //    {
   //        printf("%s : %d \r\n",ethBuf0, len);
   //        /*  Write data to the SSL channel  */
   //        wiz_tls_write(&tlsContext, ethBuf0, len);
   //    }
   //    if(strncmp((char *)ethBuf0,"end",3)==0)
   //    {
   //        /*  Send close notify  */
   //        if(wiz_tls_close_notify(&tlsContext) == 0)
   //            printf("SSL closed\r\n");
   //        /*  Free tls context  */
   //        wiz_tls_deinit(&tlsContext);
   //    }

    /* USER CODE END WHILE */

    /* USER CODE BEGIN 3 */

//     net_poll();

  }
  /* USER CODE END 3 */
}

void SystemClock_Config(void)
{
  RCC_OscInitTypeDef RCC_OscInitStruct = {0};
  RCC_ClkInitTypeDef RCC_ClkInitStruct = {0};

  /** Configure the main internal regulator output voltage
  */
  __HAL_RCC_PWR_CLK_ENABLE();
  __HAL_PWR_VOLTAGESCALING_CONFIG(PWR_REGULATOR_VOLTAGE_SCALE1);
  /** Initializes the RCC Oscillators according to the specified parameters
  * in the RCC_OscInitTypeDef structure.
  */
  RCC_OscInitStruct.OscillatorType = RCC_OSCILLATORTYPE_LSI|RCC_OSCILLATORTYPE_HSE;
  RCC_OscInitStruct.HSEState = RCC_HSE_ON;
  RCC_OscInitStruct.LSIState = RCC_LSI_ON;
  RCC_OscInitStruct.PLL.PLLState = RCC_PLL_ON;
  RCC_OscInitStruct.PLL.PLLSource = RCC_PLLSOURCE_HSE;
  RCC_OscInitStruct.PLL.PLLM = 8;
  RCC_OscInitStruct.PLL.PLLN = 336;
  RCC_OscInitStruct.PLL.PLLP = RCC_PLLP_DIV2;
  RCC_OscInitStruct.PLL.PLLQ = 7;
  if (HAL_RCC_OscConfig(&RCC_OscInitStruct) != HAL_OK)
  {
    Error_Handler();
  }
  /** Initializes the CPU, AHB and APB buses clocks
  */
  RCC_ClkInitStruct.ClockType = RCC_CLOCKTYPE_HCLK|RCC_CLOCKTYPE_SYSCLK
                              |RCC_CLOCKTYPE_PCLK1|RCC_CLOCKTYPE_PCLK2;
  RCC_ClkInitStruct.SYSCLKSource = RCC_SYSCLKSOURCE_PLLCLK;
  RCC_ClkInitStruct.AHBCLKDivider = RCC_SYSCLK_DIV1;
  RCC_ClkInitStruct.APB1CLKDivider = RCC_HCLK_DIV4;
  RCC_ClkInitStruct.APB2CLKDivider = RCC_HCLK_DIV2;

  if (HAL_RCC_ClockConfig(&RCC_ClkInitStruct, FLASH_LATENCY_5) != HAL_OK)
  {
    Error_Handler();
  }
}

static void MX_I2C1_Init(void)
{

  hi2c1.Instance = I2C1;
  hi2c1.Init.ClockSpeed = 400000;
  hi2c1.Init.DutyCycle = I2C_DUTYCYCLE_2;
  hi2c1.Init.OwnAddress1 = 0;
  hi2c1.Init.AddressingMode = I2C_ADDRESSINGMODE_7BIT;
  hi2c1.Init.DualAddressMode = I2C_DUALADDRESS_DISABLE;
  hi2c1.Init.OwnAddress2 = 0;
  hi2c1.Init.GeneralCallMode = I2C_GENERALCALL_DISABLE;
  hi2c1.Init.NoStretchMode = I2C_NOSTRETCH_DISABLE;
  if (HAL_I2C_Init(&hi2c1) != HAL_OK)
  {
    Error_Handler();
  }

}

static void MX_RNG_Init(void)
{

  hrng.Instance = RNG;
  if (HAL_RNG_Init(&hrng) != HAL_OK)
  {
    Error_Handler();
  }

}

static void MX_RTC_Init(void)
{

  RTC_TimeTypeDef sTime = {0};
  RTC_DateTypeDef sDate = {0};

  /** Initialize RTC Only
  */
  hrtc.Instance = RTC;
  hrtc.Init.HourFormat = RTC_HOURFORMAT_24;
  hrtc.Init.AsynchPrediv = 127;
  hrtc.Init.SynchPrediv = 255;
  hrtc.Init.OutPut = RTC_OUTPUT_DISABLE;
  hrtc.Init.OutPutPolarity = RTC_OUTPUT_POLARITY_HIGH;
  hrtc.Init.OutPutType = RTC_OUTPUT_TYPE_OPENDRAIN;
  if (HAL_RTC_Init(&hrtc) != HAL_OK)
  {
    Error_Handler();
  }

  /** Initialize RTC and set the Time and Date
  */
  sTime.Hours = 0x0;
  sTime.Minutes = 0x0;
  sTime.Seconds = 0x0;
  sTime.DayLightSaving = RTC_DAYLIGHTSAVING_NONE;
  sTime.StoreOperation = RTC_STOREOPERATION_RESET;
  if (HAL_RTC_SetTime(&hrtc, &sTime, RTC_FORMAT_BCD) != HAL_OK)
  {
    Error_Handler();
  }
  sDate.WeekDay = RTC_WEEKDAY_MONDAY;
  sDate.Month = RTC_MONTH_MAY;
  sDate.Date = 0x9;
  sDate.Year = 0x23;

  if (HAL_RTC_SetDate(&hrtc, &sDate, RTC_FORMAT_BCD) != HAL_OK)
  {
    Error_Handler();
  }

}

static void MX_SPI1_Init(void)
{

  /* SPI1 parameter configuration*/
  hspi1.Instance = SPI1;
  hspi1.Init.Mode = SPI_MODE_MASTER;
  hspi1.Init.Direction = SPI_DIRECTION_2LINES;
  hspi1.Init.DataSize = SPI_DATASIZE_8BIT;
  hspi1.Init.CLKPolarity = SPI_POLARITY_LOW;
  hspi1.Init.CLKPhase = SPI_PHASE_1EDGE;
  hspi1.Init.NSS = SPI_NSS_SOFT;
  hspi1.Init.BaudRatePrescaler = SPI_BAUDRATEPRESCALER_8;
  hspi1.Init.FirstBit = SPI_FIRSTBIT_MSB;
  hspi1.Init.TIMode = SPI_TIMODE_DISABLE;
  hspi1.Init.CRCCalculation = SPI_CRCCALCULATION_DISABLE;
  hspi1.Init.CRCPolynomial = 10;
  if (HAL_SPI_Init(&hspi1) != HAL_OK)
  {
    Error_Handler();
  }

}

static void MX_SPI2_Init(void)
{

  /* SPI2 parameter configuration*/
  hspi2.Instance = SPI2;
  hspi2.Init.Mode = SPI_MODE_MASTER;
  hspi2.Init.Direction = SPI_DIRECTION_2LINES;
  hspi2.Init.DataSize = SPI_DATASIZE_8BIT;
  hspi2.Init.CLKPolarity = SPI_POLARITY_LOW;
  hspi2.Init.CLKPhase = SPI_PHASE_2EDGE;
  hspi2.Init.NSS = SPI_NSS_SOFT;
  hspi2.Init.BaudRatePrescaler = SPI_BAUDRATEPRESCALER_4;
  hspi2.Init.FirstBit = SPI_FIRSTBIT_MSB;
  hspi2.Init.TIMode = SPI_TIMODE_DISABLE;
  hspi2.Init.CRCCalculation = SPI_CRCCALCULATION_DISABLE;
  hspi2.Init.CRCPolynomial = 10;
  if (HAL_SPI_Init(&hspi2) != HAL_OK)
  {
    Error_Handler();
  }

}

static void MX_SPI3_Init(void)
{

  /* SPI3 parameter configuration*/
  hspi3.Instance = SPI3;
  hspi3.Init.Mode = SPI_MODE_MASTER;
  hspi3.Init.Direction = SPI_DIRECTION_2LINES;
  hspi3.Init.DataSize = SPI_DATASIZE_8BIT;
  hspi3.Init.CLKPolarity = SPI_POLARITY_LOW;
  hspi3.Init.CLKPhase = SPI_PHASE_1EDGE;
  hspi3.Init.NSS = SPI_NSS_SOFT;
  hspi3.Init.BaudRatePrescaler = SPI_BAUDRATEPRESCALER_8;
  hspi3.Init.FirstBit = SPI_FIRSTBIT_MSB;
  hspi3.Init.TIMode = SPI_TIMODE_DISABLE;
  hspi3.Init.CRCCalculation = SPI_CRCCALCULATION_DISABLE;
  hspi3.Init.CRCPolynomial = 10;
  if (HAL_SPI_Init(&hspi3) != HAL_OK)
  {
    Error_Handler();
  }

}

static void MX_TIM1_Init(void)
{

  TIM_ClockConfigTypeDef sClockSourceConfig = {0};
  TIM_SlaveConfigTypeDef sSlaveConfig = {0};
  TIM_MasterConfigTypeDef sMasterConfig = {0};
  TIM_IC_InitTypeDef sConfigIC = {0};

  htim1.Instance = TIM1;
  htim1.Init.Prescaler = 0;
  htim1.Init.CounterMode = TIM_COUNTERMODE_UP;
  htim1.Init.Period = 20730;
  htim1.Init.ClockDivision = TIM_CLOCKDIVISION_DIV1;
  htim1.Init.RepetitionCounter = 0;
  htim1.Init.AutoReloadPreload = TIM_AUTORELOAD_PRELOAD_DISABLE;
  if (HAL_TIM_Base_Init(&htim1) != HAL_OK)
  {
    Error_Handler();
  }
  sClockSourceConfig.ClockSource = TIM_CLOCKSOURCE_INTERNAL;
  if (HAL_TIM_ConfigClockSource(&htim1, &sClockSourceConfig) != HAL_OK)
  {
    Error_Handler();
  }
  if (HAL_TIM_IC_Init(&htim1) != HAL_OK)
  {
    Error_Handler();
  }
  sSlaveConfig.SlaveMode = TIM_SLAVEMODE_RESET;
  sSlaveConfig.InputTrigger = TIM_TS_TI1FP1;
  sSlaveConfig.TriggerPolarity = TIM_INPUTCHANNELPOLARITY_FALLING;
  sSlaveConfig.TriggerFilter = 0;
  if (HAL_TIM_SlaveConfigSynchro(&htim1, &sSlaveConfig) != HAL_OK)
  {
    Error_Handler();
  }
  sMasterConfig.MasterOutputTrigger = TIM_TRGO_RESET;
  sMasterConfig.MasterSlaveMode = TIM_MASTERSLAVEMODE_DISABLE;
  if (HAL_TIMEx_MasterConfigSynchronization(&htim1, &sMasterConfig) != HAL_OK)
  {
    Error_Handler();
  }
  sConfigIC.ICPolarity = TIM_INPUTCHANNELPOLARITY_FALLING;
  sConfigIC.ICSelection = TIM_ICSELECTION_DIRECTTI;
  sConfigIC.ICPrescaler = TIM_ICPSC_DIV1;
  sConfigIC.ICFilter = 0;
  if (HAL_TIM_IC_ConfigChannel(&htim1, &sConfigIC, TIM_CHANNEL_1) != HAL_OK)
  {
    Error_Handler();
  }

}

static void MX_USART6_UART_Init(void)
{

  huart6.Instance = USART6;
  huart6.Init.BaudRate = 230400;
  huart6.Init.WordLength = UART_WORDLENGTH_8B;
  huart6.Init.StopBits = UART_STOPBITS_1;
  huart6.Init.Parity = UART_PARITY_NONE;
  huart6.Init.Mode = UART_MODE_TX_RX;
  huart6.Init.HwFlowCtl = UART_HWCONTROL_NONE;
  huart6.Init.OverSampling = UART_OVERSAMPLING_16;
  if (HAL_UART_Init(&huart6) != HAL_OK)
  {
    Error_Handler();
  }

}

static void MX_DMA_Init(void)
{

  /* DMA controller clock enable */
  __HAL_RCC_DMA2_CLK_ENABLE();
  __HAL_RCC_DMA1_CLK_ENABLE();

  /* DMA interrupt init */
  /* DMA1_Stream0_IRQn interrupt configuration */
  HAL_NVIC_SetPriority(DMA1_Stream0_IRQn, 0, 0);
  HAL_NVIC_EnableIRQ(DMA1_Stream0_IRQn);
  /* DMA1_Stream5_IRQn interrupt configuration */
  HAL_NVIC_SetPriority(DMA1_Stream5_IRQn, 0, 0);
  HAL_NVIC_EnableIRQ(DMA1_Stream5_IRQn);
  /* DMA2_Stream6_IRQn interrupt configuration */
  HAL_NVIC_SetPriority(DMA2_Stream6_IRQn, 0, 0);
  HAL_NVIC_EnableIRQ(DMA2_Stream6_IRQn);

}

static void MX_GPIO_Init(void)
{
  GPIO_InitTypeDef GPIO_InitStruct = {0};

  /* GPIO Ports Clock Enable */
  __HAL_RCC_GPIOC_CLK_ENABLE();
  __HAL_RCC_GPIOH_CLK_ENABLE();
  __HAL_RCC_GPIOA_CLK_ENABLE();
  __HAL_RCC_GPIOB_CLK_ENABLE();
  __HAL_RCC_GPIOE_CLK_ENABLE();
  __HAL_RCC_GPIOD_CLK_ENABLE();

  /*Configure GPIO pin Output Level */
  HAL_GPIO_WritePin(GPIOC, OTG_FS_PowerSwitchOn_Pin|GPIO_PIN_8|GPIO_PIN_9, GPIO_PIN_SET);

  /*Configure GPIO pin Output Level */
  HAL_GPIO_WritePin(GPIOC, GPIO_PIN_4|GPIO_PIN_5, GPIO_PIN_RESET);

  /*Configure GPIO pin Output Level */
  HAL_GPIO_WritePin(GPIOD, GPIO_PIN_9|GPIO_PIN_10|Green_Led_Pin|Orange_Led_Pin
                          |Red_Led_Pin|Blue_Led_Pin, GPIO_PIN_RESET);

  /*Configure GPIO pin Output Level */
  HAL_GPIO_WritePin(GPIOD, GPIO_PIN_11|GPIO_PIN_2, GPIO_PIN_SET);

  /*Configure GPIO pin Output Level */
  HAL_GPIO_WritePin(GPIOA, GPIO_PIN_8, GPIO_PIN_SET);

  /*Configure GPIO pins : OTG_FS_PowerSwitchOn_Pin PC4 PC5 */
  GPIO_InitStruct.Pin = OTG_FS_PowerSwitchOn_Pin|GPIO_PIN_4|GPIO_PIN_5;
  GPIO_InitStruct.Mode = GPIO_MODE_OUTPUT_PP;
  GPIO_InitStruct.Pull = GPIO_NOPULL;
  GPIO_InitStruct.Speed = GPIO_SPEED_FREQ_LOW;
  HAL_GPIO_Init(GPIOC, &GPIO_InitStruct);

  /*Configure GPIO pins : BOOT1_Pin PB15 */
  GPIO_InitStruct.Pin = BOOT1_Pin|GPIO_PIN_15;
  GPIO_InitStruct.Mode = GPIO_MODE_INPUT;
  GPIO_InitStruct.Pull = GPIO_NOPULL;
  HAL_GPIO_Init(GPIOB, &GPIO_InitStruct);

  /*Configure GPIO pin : INT_Pin */
  GPIO_InitStruct.Pin = INT_Pin;
  GPIO_InitStruct.Mode = GPIO_MODE_INPUT;
  GPIO_InitStruct.Pull = GPIO_NOPULL;
  HAL_GPIO_Init(INT_GPIO_Port, &GPIO_InitStruct);

  /*Configure GPIO pins : PD9 PD10 PD11 Green_Led_Pin
                           Orange_Led_Pin Red_Led_Pin Blue_Led_Pin */
  GPIO_InitStruct.Pin = GPIO_PIN_9|GPIO_PIN_10|GPIO_PIN_11|Green_Led_Pin
                          |Orange_Led_Pin|Red_Led_Pin|Blue_Led_Pin;
  GPIO_InitStruct.Mode = GPIO_MODE_OUTPUT_PP;
  GPIO_InitStruct.Pull = GPIO_NOPULL;
  GPIO_InitStruct.Speed = GPIO_SPEED_FREQ_VERY_HIGH;
  HAL_GPIO_Init(GPIOD, &GPIO_InitStruct);

  /*Configure GPIO pins : PC8 PC9 */
  GPIO_InitStruct.Pin = GPIO_PIN_8|GPIO_PIN_9;
  GPIO_InitStruct.Mode = GPIO_MODE_OUTPUT_PP;
  GPIO_InitStruct.Pull = GPIO_NOPULL;
  GPIO_InitStruct.Speed = GPIO_SPEED_FREQ_VERY_HIGH;
  HAL_GPIO_Init(GPIOC, &GPIO_InitStruct);

  /*Configure GPIO pin : PA8 */
  GPIO_InitStruct.Pin = GPIO_PIN_8;
  GPIO_InitStruct.Mode = GPIO_MODE_OUTPUT_PP;
  GPIO_InitStruct.Pull = GPIO_NOPULL;
  GPIO_InitStruct.Speed = GPIO_SPEED_FREQ_VERY_HIGH;
  HAL_GPIO_Init(GPIOA, &GPIO_InitStruct);

  /*Configure GPIO pin : PD2 */
  GPIO_InitStruct.Pin = GPIO_PIN_2;
  GPIO_InitStruct.Mode = GPIO_MODE_OUTPUT_PP;
  GPIO_InitStruct.Pull = GPIO_PULLUP;
  GPIO_InitStruct.Speed = GPIO_SPEED_FREQ_MEDIUM;
  HAL_GPIO_Init(GPIOD, &GPIO_InitStruct);

}

/* USER CODE BEGIN 4 */

void sendPackets(uint8_t sn, uint8_t* destip, uint16_t destport)
{
    char tmp[20];
    HAL_GPIO_WritePin(GPIOD, GPIO_PIN_10, GPIO_PIN_SET);
    HAL_GPIO_WritePin(GPIOD, GPIO_PIN_10, GPIO_PIN_RESET);

    sendto(sn, (uint8_t *)rxCyclon, MAX_PACKET_LEN, destip, destport);
//    sendto_mod(sn, (uint8_t *)test6, MAX_PACKET_LEN, destip, destport);

    ++num_send;
//    ++num;
//    if (num % 20000 == 0)
//    {
//        sprintf(tmp, "%u\r\n",num);
//        UART_Printf(tmp);
//    }
    if (num_send == 500)
    {
        HAL_GPIO_WritePin(GPIOD, Orange_Led_Pin, GPIO_PIN_RESET);
    }
    if (num_send == 1000)
    {
//        close(0);
//        socket(0, Sn_MR_UDP, localport, 0x00);
        num_send = 0;
        HAL_GPIO_WritePin(GPIOD, Orange_Led_Pin, GPIO_PIN_SET);
    }
    HAL_GPIO_WritePin(GPIOD, GPIO_PIN_10, GPIO_PIN_SET);
    HAL_GPIO_WritePin(GPIOD, GPIO_PIN_10, GPIO_PIN_RESET);
}

void receivePackets(uint8_t sn, uint8_t* destip, uint16_t destport)
{
    recvfrom_mod(sn, (uint8_t *)txCyclon, MAX_PACKET_LEN, destip, &destport);
    HAL_GPIO_WritePin(GPIOD, GPIO_PIN_10, GPIO_PIN_SET);
    HAL_GPIO_WritePin(GPIOD, GPIO_PIN_10, GPIO_PIN_RESET);
    ++num_rcvd;
    if (num_rcvd == 500)
    {
        HAL_GPIO_WritePin(GPIOD, Blue_Led_Pin, GPIO_PIN_RESET);
    }
    if (num_rcvd == 1000)
    {
        num_rcvd = 0;
        HAL_GPIO_WritePin(GPIOD, Blue_Led_Pin, GPIO_PIN_SET);
    }
}

/**
 * @brief Default function to enable interrupt.
 * @note This function help not to access wrong address. If you do not describe this function or register any functions,
 * null function is called.
 */
void 	  wizchip_cris_enter(void)           {

}

/**
 * @brief Default function to disable interrupt.
 * @note This function help not to access wrong address. If you do not describe this function or register any functions,
 * null function is called.
 */
void 	  wizchip_cris_exit(void)          {

}

/**
 * @brief Default function to select chip.
 * @note This function help not to access wrong address. If you do not describe this function or register any functions,
 * null function is called.
 */
void 	wizchip_cs_select(void)            {
     HAL_GPIO_WritePin(GPIOD, GPIO_PIN_11, GPIO_PIN_RESET);
}

/**
 * @brief Default function to deselect chip.
 * @note This function help not to access wrong address. If you do not describe this function or register any functions,
 * null function is called.
 */
void 	wizchip_cs_deselect(void)          {
    HAL_GPIO_WritePin(GPIOD, GPIO_PIN_11, GPIO_PIN_SET);
}

/**
 * @brief Default function to read in SPI interface.
 * @note This function help not to access wrong address. If you do not describe this function or register any functions,
 * null function is called.
 */
uint8_t wizchip_spi_readbyte(void)        {
    uint8_t wb=0xFF;
    HAL_SPI_Receive(&hspi1, &wb, 1, 1000);
    return	wb;
}
/**
 * @brief Default function to write in SPI interface.
 * @note This function help not to access wrong address. If you do not describe this function or register any functions,
 * null function is called.
 */
void 	wizchip_spi_writebyte(uint8_t wb) {
        HAL_SPI_Transmit(&hspi1, &wb, 1, 1000);
}

/**
 * @brief Default function to burst read in SPI interface.
 * @note This function help not to access wrong address. If you do not describe this function or register any functions,
 * null function is called.
 */
void 	wizchip_spi_readburst(uint8_t* pBuf, uint16_t len) 	{
    HAL_SPI_Receive(&hspi1, pBuf, len , 1000);
}

/**
 * @brief Default function to burst write in SPI interface.
 * @note This function help not to access wrong address. If you do not describe this function or register any functions,
 * null function is called.
 */
void 	wizchip_spi_writeburst(uint8_t* pBuf, uint16_t len) {
    HAL_SPI_Transmit(&hspi1, pBuf, len , 1000);
}

/* USER CODE END 4 */

void Error_Handler(void)
{
  __disable_irq();
  while (1)
  {
  }
}
